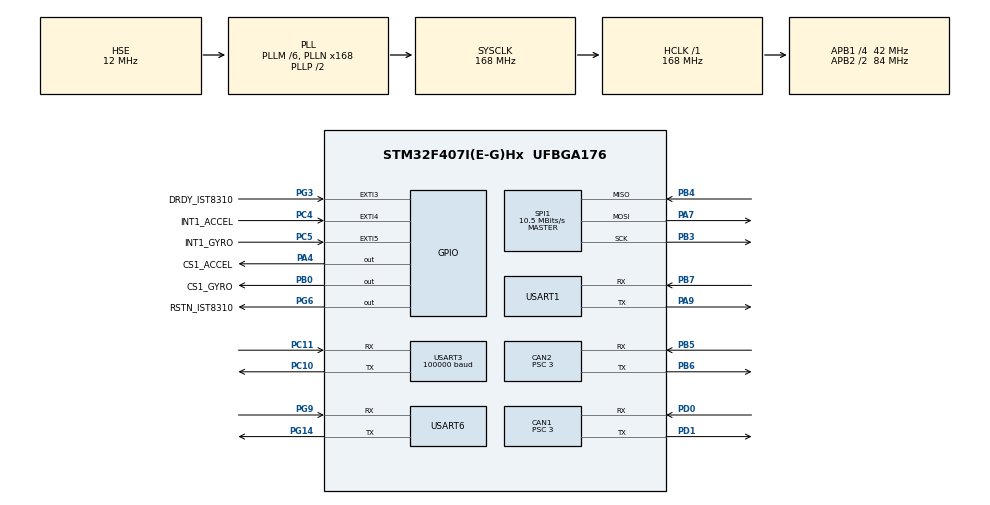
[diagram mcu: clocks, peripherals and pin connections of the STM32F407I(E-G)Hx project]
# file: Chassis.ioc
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CAN1.ABOM=ENABLE
CAN1.BS1=CAN_BS1_10TQ
CAN1.BS2=CAN_BS2_3TQ
CAN1.CalculateBaudRate=1000000
CAN1.CalculateTimeBit=1000
CAN1.CalculateTimeQuantum=71.42857142857143
CAN1.NART=ENABLE
CAN1.Prescaler=3
CAN2.ABOM=ENABLE
CAN2.BS1=CAN_BS1_10TQ
CAN2.BS2=CAN_BS2_3TQ
CAN2.CalculateBaudRate=1000000
CAN2.CalculateTimeBit=1000
CAN2.CalculateTimeQuantum=71.42857142857143
CAN2.NART=ENABLE
CAN2.Prescaler=3
Dma.Request0=USART6_RX
Dma.Request1=USART6_TX
Dma.Request2=USART3_RX
Dma.Request3=USART1_RX
Dma.Request4=USART1_TX
Dma.Request5=SPI1_RX
Dma.Request6=SPI1_TX
Dma.SPI1_RX.5.Direction=DMA_PERIPH_TO_MEMORY
Dma.SPI1_RX.5.FIFOMode=DMA_FIFOMODE_DISABLE
Dma.SPI1_RX.5.Instance=DMA2_Stream2
Dma.SPI1_RX.5.MemDataAlignment=DMA_MDATAALIGN_BYTE
Dma.SPI1_RX.5.MemInc=DMA_MINC_ENABLE
Dma.SPI1_RX.5.Mode=DMA_NORMAL
Dma.SPI1_RX.5.PeriphDataAlignment=DMA_PDATAALIGN_BYTE
Dma.SPI1_RX.5.PeriphInc=DMA_PINC_DISABLE
Dma.SPI1_RX.5.Priority=DMA_PRIORITY_VERY_HIGH
Dma.SPI1_TX.6.Direction=DMA_MEMORY_TO_PERIPH
Dma.SPI1_TX.6.FIFOMode=DMA_FIFOMODE_DISABLE
Dma.SPI1_TX.6.Instance=DMA2_Stream3
Dma.SPI1_TX.6.MemDataAlignment=DMA_MDATAALIGN_BYTE
Dma.SPI1_TX.6.MemInc=DMA_MINC_ENABLE
Dma.SPI1_TX.6.Mode=DMA_NORMAL
Dma.SPI1_TX.6.PeriphDataAlignment=DMA_PDATAALIGN_BYTE
Dma.SPI1_TX.6.PeriphInc=DMA_PINC_DISABLE
Dma.SPI1_TX.6.Priority=DMA_PRIORITY_HIGH
Dma.USART1_RX.3.Direction=DMA_PERIPH_TO_MEMORY
Dma.USART1_RX.3.FIFOMode=DMA_FIFOMODE_DISABLE
Dma.USART1_RX.3.Instance=DMA2_Stream5
Dma.USART1_RX.3.MemDataAlignment=DMA_MDATAALIGN_BYTE
Dma.USART1_RX.3.MemInc=DMA_MINC_ENABLE
Dma.USART1_RX.3.Mode=DMA_NORMAL
Dma.USART1_RX.3.PeriphDataAlignment=DMA_PDATAALIGN_BYTE
Dma.USART1_RX.3.PeriphInc=DMA_PINC_DISABLE
Dma.USART1_RX.3.Priority=DMA_PRIORITY_VERY_HIGH
Dma.USART1_TX.4.Direction=DMA_MEMORY_TO_PERIPH
Dma.USART1_TX.4.FIFOMode=DMA_FIFOMODE_DISABLE
Dma.USART1_TX.4.Instance=DMA2_Stream7
Dma.USART1_TX.4.MemDataAlignment=DMA_MDATAALIGN_BYTE
Dma.USART1_TX.4.MemInc=DMA_MINC_ENABLE
Dma.USART1_TX.4.Mode=DMA_NORMAL
Dma.USART1_TX.4.PeriphDataAlignment=DMA_PDATAALIGN_BYTE
Dma.USART1_TX.4.PeriphInc=DMA_PINC_DISABLE
Dma.USART1_TX.4.Priority=DMA_PRIORITY_LOW
Dma.USART3_RX.2.Direction=DMA_PERIPH_TO_MEMORY
Dma.USART3_RX.2.FIFOMode=DMA_FIFOMODE_DISABLE
Dma.USART3_RX.2.Instance=DMA1_Stream1
Dma.USART3_RX.2.MemDataAlignment=DMA_MDATAALIGN_BYTE
Dma.USART3_RX.2.MemInc=DMA_MINC_ENABLE
Dma.USART3_RX.2.Mode=DMA_NORMAL
Dma.USART3_RX.2.PeriphDataAlignment=DMA_PDATAALIGN_BYTE
Dma.USART3_RX.2.PeriphInc=DMA_PINC_DISABLE
Dma.USART3_RX.2.Priority=DMA_PRIORITY_HIGH
Dma.USART6_RX.0.Direction=DMA_PERIPH_TO_MEMORY
Dma.USART6_RX.0.FIFOMode=DMA_FIFOMODE_DISABLE
Dma.USART6_RX.0.Instance=DMA2_Stream1
Dma.USART6_RX.0.MemDataAlignment=DMA_MDATAALIGN_BYTE
Dma.USART6_RX.0.MemInc=DMA_MINC_ENABLE
Dma.USART6_RX.0.Mode=DMA_NORMAL
Dma.USART6_RX.0.PeriphDataAlignment=DMA_PDATAALIGN_BYTE
Dma.USART6_RX.0.PeriphInc=DMA_PINC_DISABLE
Dma.USART6_RX.0.Priority=DMA_PRIORITY_HIGH
Dma.USART6_TX.1.Direction=DMA_MEMORY_TO_PERIPH
Dma.USART6_TX.1.FIFOMode=DMA_FIFOMODE_DISABLE
Dma.USART6_TX.1.Instance=DMA2_Stream6
Dma.USART6_TX.1.MemDataAlignment=DMA_MDATAALIGN_BYTE
Dma.USART6_TX.1.MemInc=DMA_MINC_ENABLE
Dma.USART6_TX.1.Mode=DMA_NORMAL
Dma.USART6_TX.1.PeriphDataAlignment=DMA_PDATAALIGN_BYTE
Dma.USART6_TX.1.PeriphInc=DMA_PINC_DISABLE
Dma.USART6_TX.1.Priority=DMA_PRIORITY_MEDIUM
Mcu.Family=STM32F4
Mcu.Name=STM32F407I(E-G)Hx
Mcu.Package=UFBGA176
NVIC.CAN1_RX0_IRQn=true\:0\:0\:false\:false\:true\:true\:true\:true
NVIC.CAN1_RX1_IRQn=true\:0\:0\:false\:false\:true\:true\:true\:true
NVIC.CAN1_TX_IRQn=true\:0\:0\:false\:false\:true\:true\:true\:true
NVIC.CAN2_RX0_IRQn=true\:0\:0\:false\:false\:true\:true\:true\:true
NVIC.CAN2_RX1_IRQn=true\:0\:0\:false\:false\:true\:true\:true\:true
NVIC.CAN2_TX_IRQn=true\:0\:0\:false\:false\:true\:true\:true\:true
NVIC.DMA1_Stream1_IRQn=true\:0\:0\:false\:false\:true\:false\:true\:true
NVIC.DMA2_Stream1_IRQn=true\:0\:0\:false\:false\:true\:false\:true\:true
NVIC.DMA2_Stream2_IRQn=true\:0\:0\:false\:false\:true\:false\:true\:true
NVIC.DMA2_Stream3_IRQn=true\:0\:0\:false\:false\:true\:false\:true\:true
NVIC.DMA2_Stream5_IRQn=true\:0\:0\:false\:false\:true\:false\:true\:true
NVIC.DMA2_Stream6_IRQn=true\:0\:0\:false\:false\:true\:false\:true\:true
NVIC.DMA2_Stream7_IRQn=true\:0\:0\:false\:false\:true\:false\:true\:true
NVIC.PriorityGroup=NVIC_PRIORITYGROUP_4
NVIC.TIM1_TRG_COM_TIM11_IRQn=true\:0\:0\:false\:false\:true\:true\:true\:true
NVIC.TIM1_UP_TIM10_IRQn=true\:5\:0\:true\:false\:true\:true\:true\:true
NVIC.TIM8_BRK_TIM12_IRQn=true\:1\:0\:true\:false\:true\:true\:true\:true
NVIC.TIM8_TRG_COM_TIM14_IRQn=true\:0\:0\:false\:false\:true\:true\:true\:true
NVIC.TIM8_UP_TIM13_IRQn=true\:0\:0\:false\:false\:true\:true\:true\:true
NVIC.USART1_IRQn=true\:0\:0\:false\:false\:true\:true\:true\:true
NVIC.USART3_IRQn=true\:0\:0\:false\:false\:true\:true\:true\:true
NVIC.USART6_IRQn=true\:0\:0\:false\:false\:true\:true\:true\:true
PA13.Mode=Serial_Wire
PA13.Signal=SYS_JTMS-SWDIO
PA14.Mode=Serial_Wire
PA14.Signal=SYS_JTCK-SWCLK
PA4.GPIO_Label=CS1_ACCEL
PA4.GPIO_PuPd=GPIO_PULLUP
PA4.GPIO_Speed=GPIO_SPEED_FREQ_HIGH
PA4.Signal=GPIO_Output
PA7.Mode=Full_Duplex_Master
PA7.Signal=SPI1_MOSI
PA9.Mode=Asynchronous
PA9.Signal=USART1_TX
PB0.GPIO_Label=CS1_GYRO
PB0.GPIO_PuPd=GPIO_PULLUP
PB0.GPIO_Speed=GPIO_SPEED_FREQ_HIGH
PB0.PinState=GPIO_PIN_SET
PB0.Signal=GPIO_Output
PB3.Mode=Full_Duplex_Master
PB3.Signal=SPI1_SCK
PB4.Mode=Full_Duplex_Master
PB4.Signal=SPI1_MISO
PB5.Mode=CAN_Activate
PB5.Signal=CAN2_RX
PB6.Mode=CAN_Activate
PB6.Signal=CAN2_TX
PB7.Mode=Asynchronous
PB7.Signal=USART1_RX
PC10.Mode=Asynchronous
PC10.Signal=USART3_TX
PC11.Mode=Asynchronous
PC11.Signal=USART3_RX
PC4.GPIO_Label=INT1_ACCEL
PC4.GPIO_PuPd=GPIO_PULLUP
PC4.Signal=GPXTI4
PC5.GPIO_Label=INT1_GYRO
PC5.GPIO_PuPd=GPIO_PULLUP
PC5.Signal=GPXTI5
PD0.Mode=CAN_Activate
PD0.Signal=CAN1_RX
PD1.Mode=CAN_Activate
PD1.Signal=CAN1_TX
PG14.Mode=Asynchronous
PG14.Signal=USART6_TX
PG3.GPIO_Label=DRDY_IST8310
PG3.GPIO_PuPd=GPIO_PULLUP
PG3.Signal=GPXTI3
PG6.GPIO_Label=RSTN_IST8310
PG6.GPIO_PuPd=GPIO_PULLUP
PG6.GPIO_Speed=GPIO_SPEED_FREQ_MEDIUM
PG6.PinState=GPIO_PIN_SET
PG6.Signal=GPIO_Output
PG9.Mode=Asynchronous
PG9.Signal=USART6_RX
PH0-OSC_IN.Mode=HSE-External-Oscillator
PH0-OSC_IN.Signal=RCC_OSC_IN
PH1-OSC_OUT.Mode=HSE-External-Oscillator
PH1-OSC_OUT.Signal=RCC_OSC_OUT
ProjectManager.HeapSize=0x1000
ProjectManager.StackSize=0x800
ProjectManager.TargetToolchain=MDK-ARM V5.32
RCC.48MHZClocksFreq_Value=84000000
RCC.AHBFreq_Value=168000000
RCC.APB1CLKDivider=RCC_HCLK_DIV4
RCC.APB1Freq_Value=42000000
RCC.APB1TimFreq_Value=84000000
RCC.APB2CLKDivider=RCC_HCLK_DIV2
RCC.APB2Freq_Value=84000000
RCC.APB2TimFreq_Value=168000000
RCC.CortexFreq_Value=168000000
RCC.HCLKFreq_Value=168000000
RCC.HSE_VALUE=12000000
RCC.HSI_VALUE=16000000
RCC.LSE_VALUE=32768
RCC.PLLM=6
RCC.PLLN=168
RCC.PLLSourceVirtual=RCC_PLLSOURCE_HSE
RCC.SYSCLKFreq_VALUE=168000000
RCC.SYSCLKSource=RCC_SYSCLKSOURCE_PLLCLK
RCC.VCOOutputFreq_Value=336000000
SPI1.BaudRatePrescaler=SPI_BAUDRATEPRESCALER_8
SPI1.CLKPhase=SPI_PHASE_2EDGE
SPI1.CLKPolarity=SPI_POLARITY_HIGH
SPI1.CalculateBaudRate=10.5 MBits/s
SPI1.Direction=SPI_DIRECTION_2LINES
SPI1.Mode=SPI_MODE_MASTER
SPI1.VirtualType=VM_MASTER
TIM10.Period=10000
TIM10.Prescaler=840-1
TIM11.Period=1000-1
TIM11.Prescaler=84-1
TIM12.Period=10000-1
TIM12.Prescaler=180
TIM13.Period=2000-1
TIM13.Prescaler=28-1
TIM14.AutoReloadPreload=TIM_AUTORELOAD_PRELOAD_ENABLE
TIM14.Period=2000-1
TIM14.Prescaler=168 - 1
USART1.VirtualMode=VM_ASYNC
USART3.BaudRate=100000
USART3.Parity=PARITY_EVEN
USART3.VirtualMode=VM_ASYNC
USART3.WordLength=WORDLENGTH_9B
USART6.VirtualMode=VM_ASYNC
VP_TIM10_VS_ClockSourceINT.Mode=Enable_Timer
VP_TIM11_VS_ClockSourceINT.Mode=Enable_Timer
VP_TIM12_VS_ClockSourceINT.Mode=Internal
VP_TIM13_VS_ClockSourceINT.Mode=Enable_Timer
VP_TIM14_VS_ClockSourceINT.Mode=Enable_Timer
board=custom

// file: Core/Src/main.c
/* USER CODE BEGIN Header */
/**
 ******************************************************************************
 * @file           : main.c
 * @brief          : Main program body
 ******************************************************************************
 * @attention
 *
 * Copyright (c) 2024 STMicroelectronics.
 * All rights reserved.
 *
 * This software is licensed under terms that can be found in the LICENSE file
 * in the root directory of this software component.
 * If no LICENSE file comes with this software, it is provided AS-IS.
 *
 ******************************************************************************
 */
/* USER CODE END Header */
#include "main.h"
#include "can.h"
#include "dma.h"
#include "spi.h"
#include "tim.h"
#include "usart.h"
#include "gpio.h"

/* USER CODE BEGIN Includes */
#include "DJI_Motor.h"
#include "MCUConnect.h"
#include "MCUConnectStructs.h"
#include "RC_task.h"
#include "Tools.h"
#include "addOns.h"
#include "bsp_wbus.h"
#include "chassis.h"
#include "pid.h"
#include "pidData.h"
#include "ui.h"
#include "ui_app.h"
#include "BMI088.h"

#if WITH_RM_POWER_MANAGER == 1
#include "referee.h"
#include "refereeData_v1.6.h"
#endif

#if IF_WITH_SUPERCAP == 1
#include "supercap.h"
#endif

// #include "remote_control.h"
/* USER CODE END Includes */

/* USER CODE BEGIN PTD */
// 底盘电机结构�???
// 底盘电机结构�?????;
DJI_MotorGroup group1;
DJI_Motor motor1;
DJI_Motor motor2;
DJI_Motor motor3;
DJI_Motor motor4;

// 云台电机结构�?????;
DJI_MotorGroup group2;
DJI_Motor motorYaw;

chassis chassis1;
MCUConnection connect;

BMI088_IMU BMI088_chassis;

// referee referee1;
Referee_data RefereeData;
/* USER CODE END PTD */

void SystemClock_Config(void);

int main(void)
{

  /* MCU Configuration--------------------------------------------------------*/

  /* Reset of all peripherals, Initializes the Flash interface and the Systick. */
  HAL_Init();

  /* Configure the system clock */
  SystemClock_Config();

  /* Initialize all configured peripherals */
  MX_GPIO_Init();
  MX_DMA_Init();
  MX_TIM12_Init();
  MX_TIM13_Init();
  MX_TIM14_Init();
  MX_USART6_UART_Init();
  MX_CAN1_Init();
  MX_CAN2_Init();
  MX_USART3_UART_Init();
  MX_TIM11_Init();
  MX_TIM10_Init();
  MX_USART1_UART_Init();
  MX_SPI1_Init();
  /* USER CODE BEGIN 2 */
  /***********************************************************************************************/
  /**************************************电机初始�?????************************************************/
  /***********************************************************************************************/
  //  底盘电机
  DJI_MotorGroupInit(&group1, &hcan2, CAN_RX_FIFO0);

#if NEW_ROBOT == 0
  DJI_MotorInit(&motor1, 0x204, 0, pid0, NULL);  // 起火步兵地盘ID�???3412，另外一�???1234
  DJI_MotorPidSet(&motor1, &(motor1.motorPid0), PID_POSITION, M3508_Speed_PID, &(motor1.realSpeedF),
                  &(motor1.target));

  DJI_MotorInit(&motor2, 0x201, 0, pid0, NULL);
  DJI_MotorPidSet(&motor2, &(motor2.motorPid0), PID_POSITION, M3508_Speed_PID, &(motor2.realSpeedF),
                  &(motor2.target));

  DJI_MotorInit(&motor3, 0x202, 0, pid0, NULL);
  DJI_MotorPidSet(&motor3, &(motor3.motorPid0), PID_POSITION, M3508_Speed_PID, &(motor3.realSpeedF),
                  &(motor3.target));

  DJI_MotorInit(&motor4, 0x203, 0, pid0, NULL);
  DJI_MotorPidSet(&motor4, &(motor4.motorPid0), PID_POSITION, M3508_Speed_PID, &(motor4.realSpeedF),
                  &(motor4.target));
#else
  DJI_MotorInit(&motor1, 0x204, 0, pid0, NULL);  // 起火步兵地盘ID�???3412，另外一�???1234
  DJI_MotorPidSet(&motor1, &(motor1.motorPid0), PID_POSITION, M3508_Speed_PID, &(motor1.realSpeedF),
                  &(motor1.target));

  DJI_MotorInit(&motor2, 0x201, 0, pid0, NULL);
  DJI_MotorPidSet(&motor2, &(motor2.motorPid0), PID_POSITION, M3508_Speed_PID, &(motor2.realSpeedF),
                  &(motor2.target));

  DJI_MotorInit(&motor3, 0x202, 0, pid0, NULL);
  DJI_MotorPidSet(&motor3, &(motor3.motorPid0), PID_POSITION, M3508_Speed_PID, &(motor3.realSpeedF),
                  &(motor3.target));

  DJI_MotorInit(&motor4, 0x203, 0, pid0, NULL);
  DJI_MotorPidSet(&motor4, &(motor4.motorPid0), PID_POSITION, M3508_Speed_PID, &(motor4.realSpeedF),
                  &(motor4.target));
#endif

  #if WITH_RM_POWER_MANAGER == 1
    #if IF_WITH_SUPERCAP == 1
      DJI_MotorPostProcessHandlerSet(&motor1, &Supercap_powerlimit);
      DJI_MotorPostProcessHandlerSet(&motor2, &Supercap_powerlimit);
      DJI_MotorPostProcessHandlerSet(&motor3, &Supercap_powerlimit);
      DJI_MotorPostProcessHandlerSet(&motor4, &Supercap_powerlimit);
    #else
      DJI_MotorPostProcessHandlerSet(&motor1, &powerlimit_LVP_HK_pro);
      DJI_MotorPostProcessHandlerSet(&motor2, &powerlimit_LVP_HK_pro);
      DJI_MotorPostProcessHandlerSet(&motor3, &powerlimit_LVP_HK_pro);
      DJI_MotorPostProcessHandlerSet(&motor4, &powerlimit_LVP_HK_pro);
    #endif
    DJI_MotorCalculateResultSet(&motor1, &(motor1.postProcessResult));
    DJI_MotorCalculateResultSet(&motor2, &(motor2.postProcessResult));
    DJI_MotorCalculateResultSet(&motor3, &(motor3.postProcessResult));
    DJI_MotorCalculateResultSet(&motor4, &(motor4.postProcessResult));
  #else
    DJI_MotorCalculateResultSet(&motor1, &(motor1.pidOutput0));
    DJI_MotorCalculateResultSet(&motor2, &(motor2.pidOutput0));
    DJI_MotorCalculateResultSet(&motor3, &(motor3.pidOutput0));
    DJI_MotorCalculateResultSet(&motor4, &(motor4.pidOutput0));
  #endif
    DJI_MotorListAdd(&group1, &motor1);
    DJI_MotorListAdd(&group1, &motor2);
    DJI_MotorListAdd(&group1, &motor3);
    DJI_MotorListAdd(&group1, &motor4);

  DJI_MotorEnable(&motor1);
  DJI_MotorEnable(&motor2);
  DJI_MotorEnable(&motor3);
  DJI_MotorEnable(&motor4);

#if NEW_ROBOT == 0
  // 云台yaw轴电机，这里可以把相关计算放在底盘，这里是为了接收电机数据才创建�????
  DJI_MotorGroupInit(&group2, &hcan1, CAN_RX_FIFO0);  // 电机组初始化
  // 这里flagEcd只能�????0
  DJI_MotorInit(&motorYaw, motorYaw_ID, 0, NULL, 0);
  DJI_MotorListAdd(&group2, &motorYaw);
#else
  DJI_MotorGroupInit(&group2, &hcan1, CAN_RX_FIFO0);  // 电机组初始化
  // 这里flagEcd只能�????0
  DJI_MotorInit(&motorYaw, motorYaw_ID, 0, NULL, 0);
  DJI_MotorListAdd(&group2, &motorYaw);
#endif

  /***********************************************************************************************/
  /**************************************底盘初始�??************************************************/
  /***********************************************************************************************/
  // 这里�????要依赖yaw轴电机或者底盘imu来底盘跟随，�????以上面创建了yaw轴电机的结构体来接收电机数据
#if NEW_ROBOT == 0
  chassisINIT(&chassis1, &group1, &motor1, &motor2, &motor3, &motor4, &motorYaw);
  chasisFollowINIT(&chassis1, YAW_FLG_ECD, PID_POSITION, Chassis_Angle_PID, PID_POSITION,
                   Chassis_Speed_PID);  // 底盘跟随初始�???(起火步兵)
#else
  chassisINIT(&chassis1, &group1, &motor1, &motor2, &motor3, &motor4, &motorYaw);
  chasisFollowINIT(&chassis1, YAW_FLG_ECD, PID_POSITION, Chassis_Angle_PID, PID_POSITION,
                   Chassis_Speed_PID);  // 底盘跟随初始�???(起火步兵)
#endif

  followResultSet(&chassis1, &(chassis1.followPidout));  // 底盘跟随结果设置
  connectionINIT(&connect, &hcan1, 0x400, CAN_RX_FIFO1);

  /***********************************************************************************************/
  /*************************************任务启用管理***********************************************/
  /***********************************************************************************************/
  BMI088_INIT(&BMI088_chassis);
  HAL_TIM_Base_Start_IT(&htim12);
#if WITH_RM_POWER_MANAGER == 1
  refereeINIT(&htim12);
#endif
  HAL_TIM_Base_Start_IT(&htim14);  // 电机pid计算
  HAL_TIM_Base_Start_IT(&htim13);  // 双机通信
  HAL_TIM_Base_Start_IT(&htim11);

#if IF_WITH_SUPERCAP == 1
  HAL_UARTEx_ReceiveToIdle_DMA(&huart1, supercap_rxD.rx_buf, sizeof(supercap_rxD.rx_buf));
  Supercap_transmit(&huart1, &supercap_txD);
#endif
  /* USER CODE END 2 */

  /* Infinite loop */
  /* USER CODE BEGIN WHILE */
  while (1) {
    static uint8_t ui_refresh_flg = 1; // 1为待刷新

    if (ChassisControlData.ui_refresh == 1) {
      ui_refresh_flg = 1;
    }

    if (ui_refresh_flg == 1) {
    ui_DrawAtStartUP(&htim10);
    ui_refresh_flg = 0;
    }

    /* USER CODE END WHILE */

  }
}

void SystemClock_Config(void)
{
  RCC_OscInitTypeDef RCC_OscInitStruct = {0};
  RCC_ClkInitTypeDef RCC_ClkInitStruct = {0};

  /** Configure the main internal regulator output voltage
  */
  __HAL_RCC_PWR_CLK_ENABLE();
  __HAL_PWR_VOLTAGESCALING_CONFIG(PWR_REGULATOR_VOLTAGE_SCALE1);

  /** Initializes the RCC Oscillators according to the specified parameters
  * in the RCC_OscInitTypeDef structure.
  */
  RCC_OscInitStruct.OscillatorType = RCC_OSCILLATORTYPE_HSE;
  RCC_OscInitStruct.HSEState = RCC_HSE_ON;
  RCC_OscInitStruct.PLL.PLLState = RCC_PLL_ON;
  RCC_OscInitStruct.PLL.PLLSource = RCC_PLLSOURCE_HSE;
  RCC_OscInitStruct.PLL.PLLM = 6;
  RCC_OscInitStruct.PLL.PLLN = 168;
  RCC_OscInitStruct.PLL.PLLP = RCC_PLLP_DIV2;
  RCC_OscInitStruct.PLL.PLLQ = 4;
  if (HAL_RCC_OscConfig(&RCC_OscInitStruct) != HAL_OK)
  {
    Error_Handler();
  }

  /** Initializes the CPU, AHB and APB buses clocks
  */
  RCC_ClkInitStruct.ClockType = RCC_CLOCKTYPE_HCLK|RCC_CLOCKTYPE_SYSCLK
                              |RCC_CLOCKTYPE_PCLK1|RCC_CLOCKTYPE_PCLK2;
  RCC_ClkInitStruct.SYSCLKSource = RCC_SYSCLKSOURCE_PLLCLK;
  RCC_ClkInitStruct.AHBCLKDivider = RCC_SYSCLK_DIV1;
  RCC_ClkInitStruct.APB1CLKDivider = RCC_HCLK_DIV4;
  RCC_ClkInitStruct.APB2CLKDivider = RCC_HCLK_DIV2;

  if (HAL_RCC_ClockConfig(&RCC_ClkInitStruct, FLASH_LATENCY_5) != HAL_OK)
  {
    Error_Handler();
  }
}

void Error_Handler(void)
{
  __disable_irq();
  while (1) {
  }
}
#ifdef USE_FULL_ASSERT
/**
  * @brief  Reports the name of the source file and the source line number
  *         where the assert_param error has occurred.
  * @param  file: pointer to the source file name
  * @param  line: assert_param error line source number
  * @retval None
  */
void assert_failed(uint8_t *file, uint32_t line)
{
  /* USER CODE BEGIN 6 */
  /* User can add his own implementation to report the file name and line
     number, ex: printf("Wrong parameters value: file %s on line %d\r\n", file,
     line) */
  /* USER CODE END 6 */
}
#endif /* USE_FULL_ASSERT */
